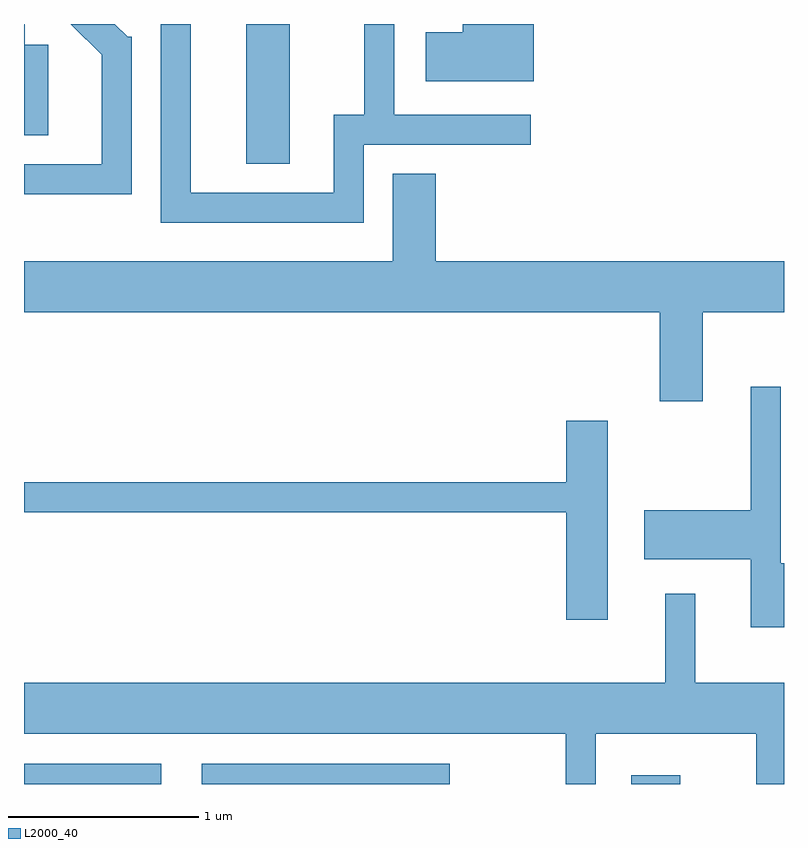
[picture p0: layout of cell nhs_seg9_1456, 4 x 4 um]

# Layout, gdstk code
import gdstk
lib = gdstk.Library(unit=1e-6, precision=1e-09)
def R(c, l, rs):  # rectangles x0, y0, x1, y1
    for r in rs: c.add(gdstk.rectangle(r[:2], r[2:], *l))
def P(c, l, *ps):  # polygons
    for p in ps: c.add(gdstk.Polygon(p, *l))
L2000_40 = (2000, 40)

nhs_seg9_1456 = lib.new_cell('nhs_seg9_1456')
R(nhs_seg9_1456, L2000_40, [(227.611,2000.432,228.334,2000.539), (228.546,2000.432,229.853,2000.539), (230.806,2000.432,231.064,2000.479), (228.781,2003.696,229.009,2004.432)])
P(nhs_seg9_1456, L2000_40, [(228.179,2004.364),(228.157,2004.364),(228.089,2004.432),(227.858,2004.432),(228.021,2004.269),(228.021,2003.694),(227.611,2003.694),(227.611,2003.536),(228.179,2003.536)],
  [(229.399,2003.796),(230.278,2003.796),(230.278,2003.954),(229.559,2003.954),(229.559,2004.432),(229.401,2004.432),(229.401,2003.954),(229.241,2003.954),(229.241,2003.544),(228.489,2003.544),(228.489,2004.432),(228.331,2004.432),(228.331,2003.386),(229.399,2003.386)],
  [(227.739,2004.324),(227.614,2004.324),(227.614,2004.432),(227.611,2004.432),(227.611,2003.846),(227.739,2003.846)],
  [(230.294,2004.432),(229.921,2004.432),(229.921,2004.389),(229.726,2004.389),(229.726,2004.131),(230.294,2004.131)],
  [(231.184,2002.916),(231.611,2002.916),(231.611,2003.184),(229.779,2003.184),(229.779,2003.644),(229.551,2003.644),(229.551,2003.184),(227.611,2003.184),(227.611,2002.916),(230.956,2002.916),(230.956,2002.446),(231.184,2002.446)],
  [(231.611,2001.594),(231.594,2001.594),(231.594,2002.523),(231.436,2002.523),(231.436,2001.874),(230.876,2001.874),(230.876,2001.616),(231.436,2001.616),(231.436,2001.256),(231.611,2001.256)],
  [(230.684,2002.344),(230.466,2002.344),(230.466,2002.019),(227.611,2002.019),(227.611,2001.861),(230.466,2001.861),(230.466,2001.296),(230.684,2001.296)],
  [(230.619,2000.696),(231.466,2000.696),(231.466,2000.432),(231.611,2000.432),(231.611,2000.964),(231.144,2000.964),(231.144,2001.433),(230.986,2001.433),(230.986,2000.964),(227.611,2000.964),(227.611,2000.696),(230.461,2000.696),(230.461,2000.432),(230.619,2000.432)])

lib.write_gds('nhs_seg9_1456.gds')
